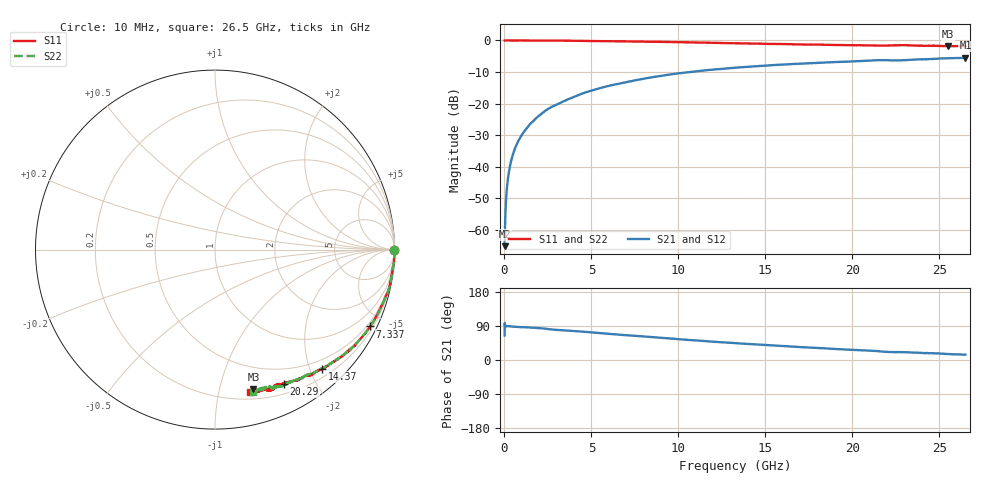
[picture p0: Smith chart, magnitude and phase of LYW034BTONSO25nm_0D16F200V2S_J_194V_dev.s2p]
!Keysight Technologies,N5222B,MY61253708,A.15.00.15
!Date: Wednesday, June 19, 2024 10:39:30
!Correction: S11(C  2-Port  )
!S21(C  2-Port  )
!S12(C  2-Port  )
!S22(C  2-Port  )
!S2P File: Measurements: S11, S21, S12, S22:
# Hz S  RI  R 50
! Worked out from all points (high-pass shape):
!   2651 points, 10 MHz to 26.5 GHz, reference 50 ohm
!   highest |S21| = -5.47 dB at 26.5 GHz (marker M1); lowest = -65.1 dB at 10 MHz (marker M2)
!   |S21| within 3 dB of the highest: 13.64169 GHz to 13.65775 GHz (16.06 MHz wide, 0.118 % of centre); 13.7 GHz to end of sweep
!   lowest |S11| = -1.9 dB at 25.5 GHz (marker M3), VSWR 9.35, Z = 14.3 - j63.6 ohm
!   |S11| at or under -10 dB: nowhere
!   |S22| runs from -1.8 to 0.0 dB; largest |S21 - S12| = 0.007
!   S11 on the Smith chart (normalised r, x): 10 MHz: open; 7.337 GHz: 0.35, -4.24; 14.37 GHz: 0.34, -2.20; 20.29 GHz: 0.31, -1.59; 26.5 GHz: 0.26, -1.24
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1e7  0.9983 -0.00343  0.000236 0.000503  -9.79e-06 0.000377  0.9983 -0.00157
6.997736e7  1 -0.0051  1.16e-05 0.00226  -1.23e-05 0.00225  0.9998 -0.00471
1.699396e8  0.9999 -0.0115  6e-05 0.0055  6.71e-05 0.00552  0.9998 -0.0107
2.099245e8  0.9998 -0.0138  8.88e-05 0.00679  9.24e-05 0.00678  0.9996 -0.0131
2.699019e8  0.9999 -0.018  0.000136 0.00871  0.000155 0.00871  1 -0.0169
3.798604e8  0.9997 -0.0258  0.000254 0.0123  0.000318 0.0123  0.9997 -0.0247
5.098113e8  0.9988 -0.0333  0.000546 0.0164  0.000581 0.0164  0.9988 -0.0322
6.797472e8  0.9984 -0.0441  0.000918 0.0218  0.000902 0.0219  0.9988 -0.0429
8.696755e8  0.9979 -0.0567  0.00152 0.0278  0.00151 0.0279  0.9972 -0.0555
1.479445e9  0.991 -0.0976  0.00366 0.0477  0.00368 0.0477  0.9938 -0.0931
2.349117e9  0.9825 -0.1501  0.00965 0.0765  0.00975 0.0767  0.984 -0.1494
3.26877e9  0.9717 -0.2073  0.0207 0.1031  0.0208 0.1034  0.9721 -0.2061
4.428332e9  0.9452 -0.2755  0.0365 0.1382  0.0366 0.1386  0.9474 -0.2716
7.337234e9  0.8641 -0.4282  0.0993 0.2065  0.1002 0.2067  0.8662 -0.4254
8.846664e9  0.8109 -0.4963  0.1392 0.2329  0.1401 0.233  0.8136 -0.4926
1.3255e10  0.639 -0.6386  0.2636 0.2595  0.2652 0.2589  0.6452 -0.6351
1.437458e10  0.5975 -0.6641  0.2927 0.2565  0.2937 0.2562  0.6032 -0.658
1.767333e10  0.4689 -0.7215  0.3693 0.2349  0.3719 0.2331  0.4823 -0.7172
2.029234e10  0.384 -0.7474  0.4201 0.209  0.4225 0.2067  0.4026 -0.7472
2.209166e10  0.3339 -0.7579  0.4531 0.1755  0.4542 0.1728  0.3314 -0.763
2.550038e10  0.2139 -0.778  0.5033 0.1402  0.5043 0.14  0.2381 -0.7799
2.65e10  0.1946 -0.793  0.5171 0.1295  0.5159 0.1257  0.2116 -0.7907
